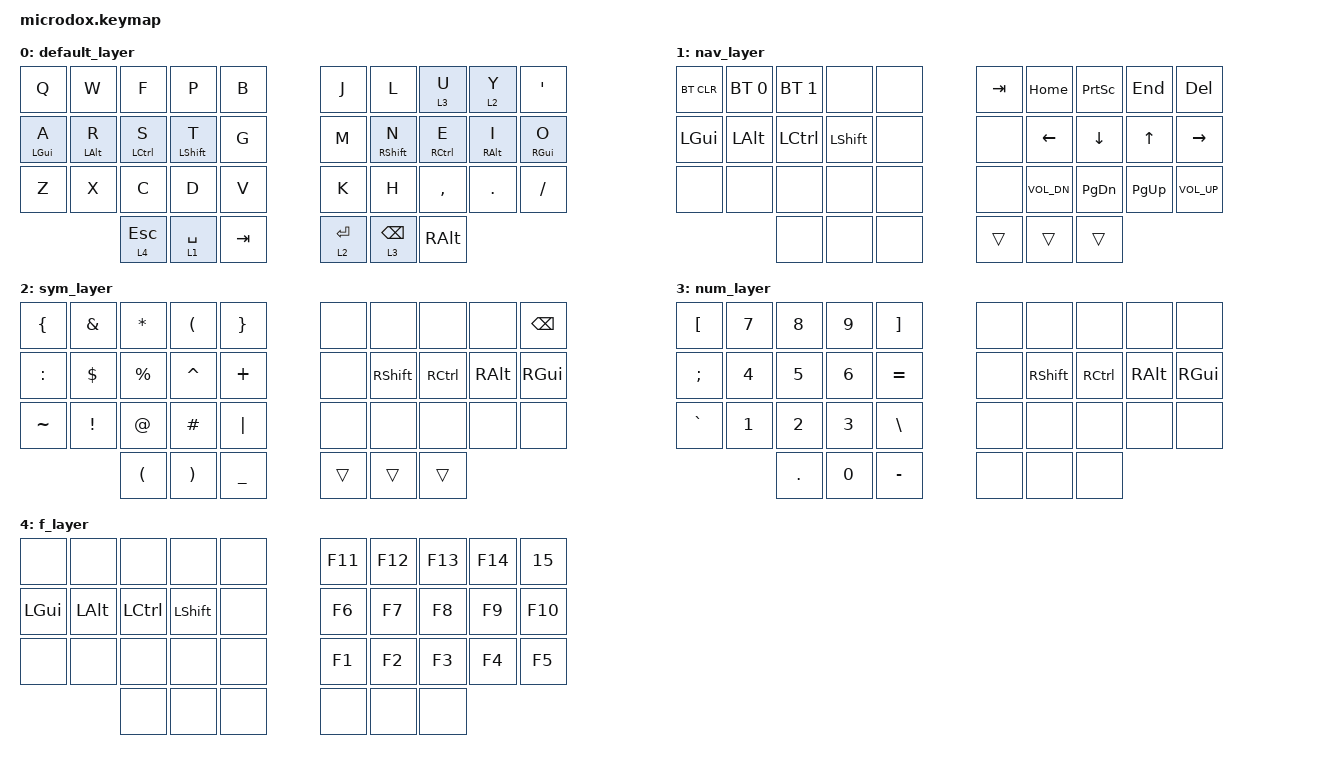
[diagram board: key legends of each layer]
/*
 * Copyright (c) 2020 The ZMK Contributors
 *
 * SPDX-License-Identifier: MIT
 */

#include <behaviors.dtsi>
#include <dt-bindings/zmk/keys.h>
#include <dt-bindings/zmk/bt.h>

/ {
        behaviors {
                hm: homerow_mods {
                compatible = "zmk,behavior-hold-tap";
                label = "HOMEROW_MODS";
                #binding-cells = <2>;
                tapping-term-ms = <200>;
                quick_tap_ms = <0>;
                flavor = "tap-preferred";
                bindings = <&kp>, <&kp>;
                };
        };

        combos {
                compatible = "zmk,combos";
                combo_esc {
                        timeout-ms = <75>;
                        key-positions = <0 1>;
                        bindings = <&kp ESC>;
                };
                combo_bksp {
                        timeout-ms = <75>;
                        key-positions = <8 9>;
                        bindings = <&kp BSPC>;
                };
                combo_entr {
                        timeout-ms = <75>;
                        key-positions = <28 29>;
                        bindings = <&kp RET>;
                };
                combo_tab {
                        timeout-ms = <75>;
                        key-positions = <20 21>;
                        bindings = <&kp TAB>;
                };
        };

        keymap {
                compatible = "zmk,keymap";

                default_layer {
// -----------------------------------------------------------------------------------------
// |  Q  |  W  |  E  |  R  |  T   |   |  Y  |  U   |  I  |  O  |  P  |
// |  A  |  S  |  D  |  F  |  G   |   |  H  |  J   |  K  |  L  |  ;  |
// |  Z  |  X  |  C  |  V  |  B   |   |  N  |  M   |  ,  |  .  |  /  |
//             | GUI | NAV | SHFT |   | SPC | SYM  | ALT |
                        bindings = <
   &kp Q      &kp W      &kp F       &kp P       &kp B   &kp J &kp L        &lt 3 U        &lt 2 Y        &kp SINGLE_QUOTE
   &hm LGUI A &hm LALT R &hm LCTRL S &hm LSHFT T &kp G   &kp M &hm RSHFT N  &hm RCTRL E   &hm RALT I   &hm RGUI O
   &kp Z      &kp X      &kp C       &kp D       &kp V   &kp K &kp H        &kp COMMA     &kp DOT      &kp FSLH
          &lt 4 ESC &lt 1 SPACE &kp TAB &lt 2 RET &lt 3 BSPC &kp RALT
                        >;
                };
                nav_layer {
// -----------------------------------------------------------------------------------------
// |BTCLR|     | ESC |  ~   |     |   | TAB | HOME |  UP  | END | DEL  |
// | BT1 | GUI | ALT | CTRL | NUM |   |  /  | LEFT | DOWN | RGT | BKSP |
// | BT2 |     |     |      |     |   |  \  | ENT  |      |     |      |
//             |     |      |     |   |     |      |      |
                        bindings = <
   &bt BT_CLR   &bt BT_SEL 0      &bt BT_SEL 1  &none     &none     &kp TAB  &kp HOME &kp PRINTSCREEN   &kp END   &kp DEL
   &kp LGUI     &kp LALT          &kp LCTRL     &kp LSHFT &none     &none &kp LEFT  &kp DOWN  &kp UP    &kp RIGHT
   &none        &none             &none         &none     &none     &none &kp C_VOL_DN &kp PG_DN &kp PG_UP    &kp C_VOL_UP
                            &none   &none    &none        &trans   &trans   &trans
                        >;
                };

                sym_layer {
// -----------------------------------------------------------------------------------------
// |  !  |  @  |  #  |  $  |  %  |   |  ^  |  &  |  *  |  (  |  )  |
// |     |     |     |     |     |   |  -  |  =  |  {  |  }  | "|" |
// |     |     |     |     |     |   |  _  |  +  |  [  |  ]  |  \  |
//             | GUI |     | SPC |   | ENT |     | ALT |
                        bindings = <
   &kp LBRC    &kp AMPS    &kp ASTRK      &kp LPAR    &kp RBRC        &none        &none        &none        &none        &kp BACKSPACE
   &kp COLON    &kp DOLLAR  &kp PERCENT    &kp CARET   &kp PLUS        &none        &kp RSHFT    &kp RCTRL    &kp RALT     &kp RGUI
   &kp TILDE   &kp EXCL    &kp AT         &kp HASH    &kp PIPE        &none        &none        &none        &none        &none
                                &kp LPAR      &kp RPAR       &kp UNDER   &trans   &trans    &trans
                        >;
                };

                num_layer {
                        bindings = <
   &kp LBKT    &kp N7    &kp N8    &kp N9    &kp RBKT    &none        &none        &none        &none        &none
   &kp SEMI    &kp N4    &kp N5    &kp N6    &kp EQUAL   &none        &kp RSHFT    &kp RCTRL    &kp RALT     &kp RGUI
   &kp GRAVE   &kp N1    &kp N2    &kp N3    &kp BSLH    &none        &none        &none        &none        &none
                 &kp DOT      &kp N0       &kp MINUS     &none        &none        &none  
                        >;
                };

                f_layer {
                        bindings = <
   &none        &none        &none        &none        &none       &kp F11      &kp F12      &kp F13      &kp F14      &kp 15
   &kp LGUI     &kp LALT     &kp LCTRL    &kp LSHFT    &none       &kp F6       &kp F7       &kp F8       &kp F9      &kp F10
   &none        &none        &none        &none        &none       &kp F1       &kp F2       &kp F3       &kp F4       &kp F5
                                                &none      &none      &none    &none    &none    &none
                        >;
                };
        };
};
